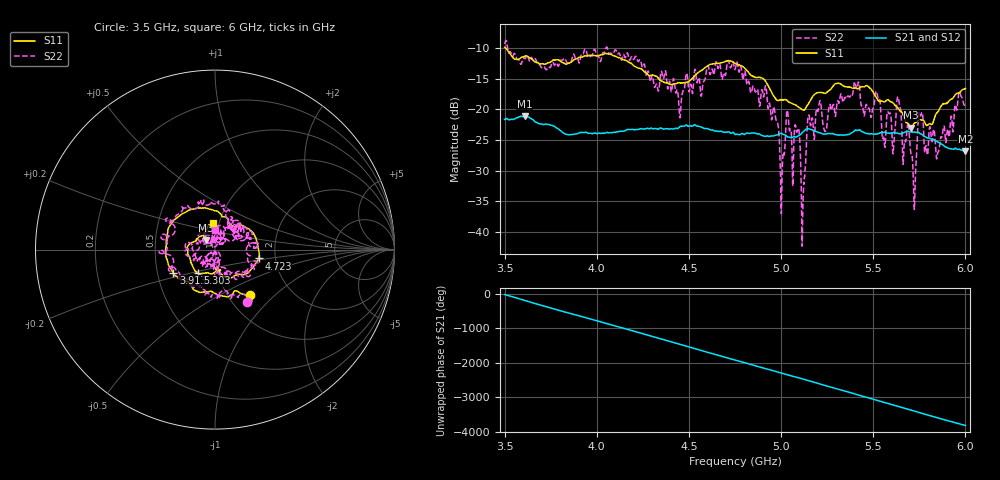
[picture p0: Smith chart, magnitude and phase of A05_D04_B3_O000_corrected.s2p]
! Created with skrf 1.9.0 (http://scikit-rf.org).
# Hz S RI R 50.0
!freq ReS11 ImS11 ReS21 ImS21 ReS12 ImS12 ReS22 ImS22
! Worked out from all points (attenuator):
!   1601 points, 3.5 GHz to 6 GHz, reference 50 ohm
!   highest |S21| = -21.14 dB at 3.609 GHz (marker M1); lowest = -26.9 dB at 6 GHz (marker M2)
!   lowest |S11| = -23.0 dB at 5.706 GHz (marker M3), VSWR 1.15, Z = 45.1 + j4.64 ohm
!   |S11| at or under -10 dB: 3.506 GHz to end of sweep
!   |S22| runs from -42.4 to -8.8 dB; largest |S21 - S12| = 0.0012
!   S11 on the Smith chart (normalised r, x): 3.5 GHz: 1.26, -0.72; 3.913 GHz: 0.61, -0.17; 4.723 GHz: 1.63, -0.17; 5.303 GHz: 0.80, -0.21; 6 GHz: 0.94, +0.28
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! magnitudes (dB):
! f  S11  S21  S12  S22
! 3.5 GHz  -9.9  -21.7  -21.6  -9.3
! 3.609 GHz  -11.4  -21.1  -21.1  -11.7
! 3.913 GHz  -11.5  -23.8  -23.7  -11.4
! 3.917 GHz  -11.5  -23.8  -23.8  -11.0
! 4.334 GHz  -14.9  -23.2  -23.2  -17.0
! 4.723 GHz  -12.1  -23.8  -23.8  -13.1
! 4.75 GHz  -12.5  -24.1  -24.0  -13.5
! 4.967 GHz  -18.1  -24.3  -24.2  -20.7
! 5.005 GHz  -18.4  -23.9  -23.9  -31.8
! 5.034 GHz  -18.6  -24.5  -24.4  -20.2
! 5.088 GHz  -19.5  -24.4  -24.4  -23.6
! 5.119 GHz  -20.1  -23.7  -23.6  -35.5
! 5.147 GHz  -19.1  -23.2  -23.1  -21.2
! 5.167 GHz  -18.1  -23.3  -23.3  -21.5
! 5.303 GHz  -15.8  -24.2  -24.1  -19.0
! 5.584 GHz  -18.5  -23.9  -23.8  -20.6
! 5.639 GHz  -20.0  -24.0  -23.9  -18.5
! 5.706 GHz  -23.0  -23.7  -23.6  -27.4
! 5.727 GHz  -22.2  -23.7  -23.6  -32.5
! 5.756 GHz  -21.7  -24.0  -23.9  -21.1
! 5.85 GHz  -20.4  -25.3  -25.2  -27.0
! 6 GHz  -16.6  -26.9  -26.8  -19.4
